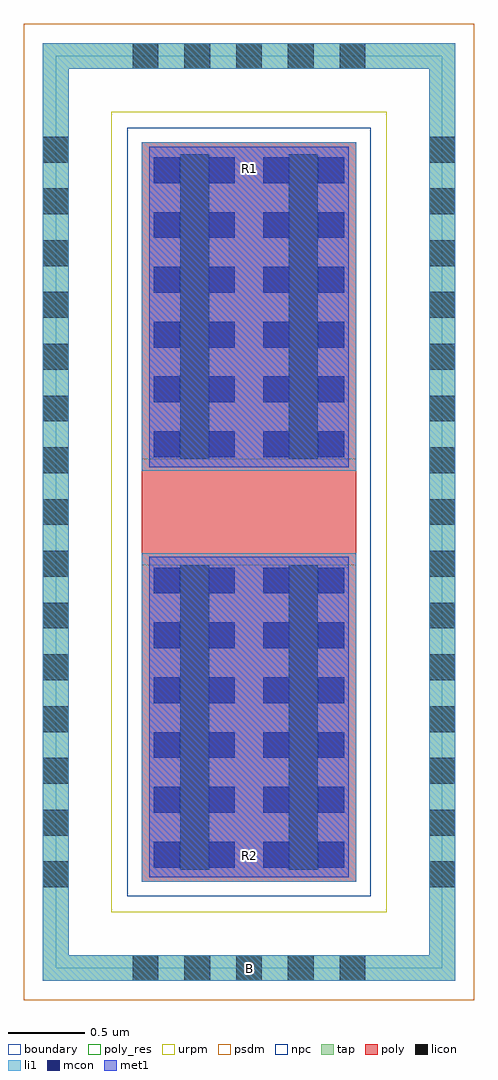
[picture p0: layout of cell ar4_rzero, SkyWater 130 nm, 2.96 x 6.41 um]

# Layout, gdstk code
import gdstk
lib = gdstk.Library(unit=1e-6, precision=1e-09)
def R(c, l, rs):  # rectangles x0, y0, x1, y1
    for r in rs: c.add(gdstk.rectangle(r[:2], r[2:], *l))
def A(c, l, x, y, w, h, nx, ny, dx, dy):  # array of equal rectangles
    R(c, l, [(x+i*dx, y+j*dy, x+i*dx+w, y+j*dy+h) for i in range(nx) for j in range(ny)])
tap = (65, 44)
poly_res = (66, 13)
poly = (66, 20)
licon = (66, 44)
li1 = (67, 20)
mcon = (67, 44)
met1 = (68, 20)
urpm = (79, 20)
psdm = (94, 20)
npc = (95, 20)
boundary = (235, 4)

ar4_rzero = lib.new_cell('ar4_rzero')
R(ar4_rzero, tap, [(-1.355,-3.08,1.355,-2.91), (-1.355,-2.91,-1.185,2.91), (1.185,-2.91,1.355,2.91), (-1.355,2.91,1.355,3.08)])
R(ar4_rzero, poly_res, [(-0.705,-0.35,0.705,0.35)])
R(ar4_rzero, poly, [(-0.705,-2.43,0.705,2.43)])
A(ar4_rzero, licon, -0.765, -3.08, 0.17, 0.17, 5, 2, 0.34, 5.99)
A(ar4_rzero, licon, -1.355, -2.465, 0.17, 0.17, 1, 15, 0, 0.34)
A(ar4_rzero, licon, 1.185, -2.465, 0.17, 0.17, 1, 15, 0, 0.34)
R(ar4_rzero, licon, [(-0.45,-2.35,-0.26,-0.35), (0.26,-2.35,0.45,-0.35), (-0.45,0.35,-0.26,2.35), (0.26,0.35,0.45,2.35)])
R(ar4_rzero, li1, [(-1.355,-3.08,1.355,-2.91), (-1.355,-2.91,-1.185,2.91), (1.185,-2.91,1.355,2.91), (-0.705,-2.43,0.705,-0.27), (-0.705,0.27,0.705,2.43), (-1.355,2.91,1.355,3.08)])
A(ar4_rzero, mcon, -0.625, -2.335, 0.17, 0.17, 4, 6, 0.36, 0.36)
A(ar4_rzero, mcon, -0.625, 0.36, 0.17, 0.17, 4, 6, 0.36, 0.36)
R(ar4_rzero, met1, [(-0.655,-2.4,0.655,-0.295), (-0.655,0.295,0.655,2.4)])
R(ar4_rzero, urpm, [(-0.905,-2.63,0.905,2.63)])
R(ar4_rzero, psdm, [(-1.48,-3.205,1.48,3.205)])
R(ar4_rzero, npc, [(-0.8,-2.525,0.8,2.525)])
R(ar4_rzero, boundary, [(-1.27,-2.995,1.27,2.995)])
ar4_rzero.add(gdstk.Label('B', (0,-2.995), layer=67, texttype=5))
ar4_rzero.add(gdstk.Label('R1', (0,2.255), layer=67, texttype=5))
ar4_rzero.add(gdstk.Label('R2', (0,-2.255), layer=67, texttype=5))

lib.write_gds('ar4_rzero.gds')
